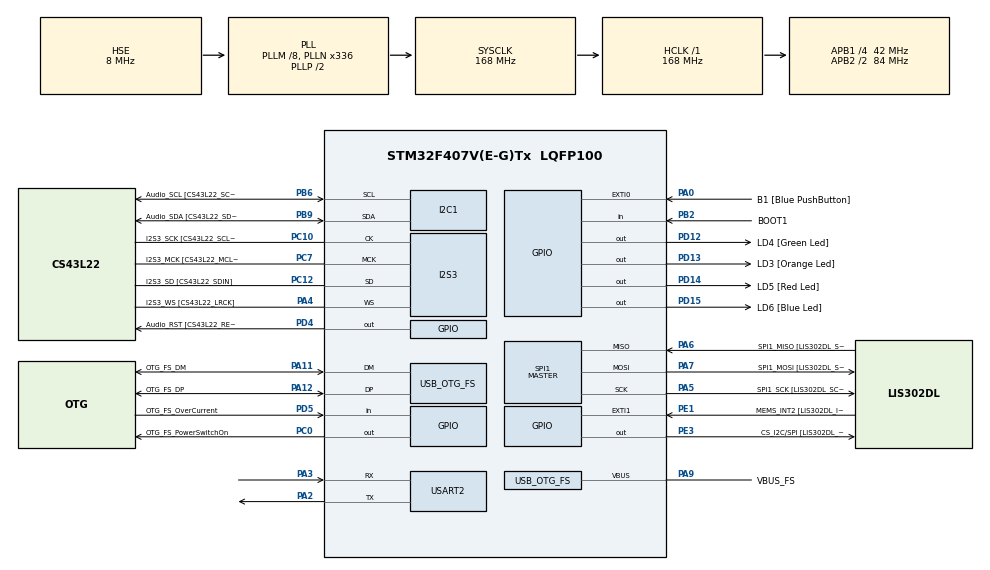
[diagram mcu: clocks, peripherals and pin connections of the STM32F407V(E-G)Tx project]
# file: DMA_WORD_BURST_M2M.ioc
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Dma.MEMTOMEM.0.Direction=DMA_MEMORY_TO_MEMORY
Dma.MEMTOMEM.0.FIFOMode=DMA_FIFOMODE_ENABLE
Dma.MEMTOMEM.0.FIFOThreshold=DMA_FIFO_THRESHOLD_FULL
Dma.MEMTOMEM.0.Instance=DMA2_Stream0
Dma.MEMTOMEM.0.MemBurst=DMA_MBURST_INC4
Dma.MEMTOMEM.0.MemDataAlignment=DMA_MDATAALIGN_WORD
Dma.MEMTOMEM.0.MemInc=DMA_MINC_ENABLE
Dma.MEMTOMEM.0.Mode=DMA_NORMAL
Dma.MEMTOMEM.0.PeriphBurst=DMA_PBURST_INC4
Dma.MEMTOMEM.0.PeriphDataAlignment=DMA_PDATAALIGN_WORD
Dma.MEMTOMEM.0.PeriphInc=DMA_PINC_ENABLE
Dma.MEMTOMEM.0.Priority=DMA_PRIORITY_LOW
Dma.Request0=MEMTOMEM
I2S3.AudioFreq-Half_Duplex_Master=I2S_AUDIOFREQ_96K
I2S3.ErrorAudioFreq=-2.34 %
I2S3.ErrorAudioFreq-Half_Duplex_Master=0.8 %
I2S3.FullDuplexMode=I2S_FULLDUPLEXMODE_DISABLE
I2S3.Instance=SPI$Index
I2S3.RealAudioFreq=93.75 KHz
I2S3.RealAudioFreq-Half_Duplex_Master=96.774 KHz
I2S3.VirtualMode=I2S_MODE_MASTER
Mcu.Family=STM32F4
Mcu.Name=STM32F407V(E-G)Tx
Mcu.Package=LQFP100
NVIC.OTG_FS_IRQn=true\:0\:0\:false\:false\:true\:true\:true\:true
NVIC.PriorityGroup=NVIC_PRIORITYGROUP_0
PA0-WKUP.GPIO_Label=B1 [Blue PushButton]
PA0-WKUP.GPIO_ModeDefaultEXTI=GPIO_MODE_EVT_RISING
PA0-WKUP.GPIO_PuPd=GPIO_NOPULL
PA0-WKUP.Signal=GPXTI0
PA10.GPIO_Label=OTG_FS_ID
PA10.GPIO_Mode=GPIO_MODE_AF_PP
PA10.GPIO_PuPd=GPIO_NOPULL
PA10.GPIO_Speed=GPIO_SPEED_FREQ_LOW
PA10.Signal=USB_OTG_FS_ID
PA11.GPIO_Label=OTG_FS_DM
PA11.GPIO_Mode=GPIO_MODE_AF_PP
PA11.GPIO_PuPd=GPIO_NOPULL
PA11.GPIO_Speed=GPIO_SPEED_FREQ_LOW
PA11.Mode=Host_Only
PA11.Signal=USB_OTG_FS_DM
PA12.GPIO_Label=OTG_FS_DP
PA12.GPIO_Mode=GPIO_MODE_AF_PP
PA12.GPIO_PuPd=GPIO_NOPULL
PA12.GPIO_Speed=GPIO_SPEED_FREQ_LOW
PA12.Mode=Host_Only
PA12.Signal=USB_OTG_FS_DP
PA13.GPIO_Label=SWDIO
PA13.Mode=Serial_Wire
PA13.Signal=SYS_JTMS-SWDIO
PA14.GPIO_Label=SWCLK
PA14.Mode=Serial_Wire
PA14.Signal=SYS_JTCK-SWCLK
PA2.Mode=Asynchronous
PA2.Signal=USART2_TX
PA3.Mode=Asynchronous
PA3.Signal=USART2_RX
PA4.GPIO_Label=I2S3_WS [CS43L22_LRCK]
PA4.GPIO_Mode=GPIO_MODE_AF_PP
PA4.GPIO_PuPd=GPIO_NOPULL
PA4.GPIO_Speed=GPIO_SPEED_FREQ_LOW
PA4.Mode=Half_Duplex_Master
PA4.Signal=I2S3_WS
PA5.GPIO_Label=SPI1_SCK [LIS302DL_SCL/SPC]
PA5.GPIO_Mode=GPIO_MODE_AF_PP
PA5.GPIO_PuPd=GPIO_NOPULL
PA5.GPIO_Speed=GPIO_SPEED_FREQ_LOW
PA5.Mode=Full_Duplex_Master
PA5.Signal=SPI1_SCK
PA6.GPIO_Label=SPI1_MISO [LIS302DL_SDO]
PA6.GPIO_Mode=GPIO_MODE_AF_PP
PA6.GPIO_PuPd=GPIO_NOPULL
PA6.GPIO_Speed=GPIO_SPEED_FREQ_LOW
PA6.Mode=Full_Duplex_Master
PA6.Signal=SPI1_MISO
PA7.GPIO_Label=SPI1_MOSI [LIS302DL_SDA/SDI/SDO]
PA7.GPIO_Mode=GPIO_MODE_AF_PP
PA7.GPIO_PuPd=GPIO_NOPULL
PA7.GPIO_Speed=GPIO_SPEED_FREQ_LOW
PA7.Mode=Full_Duplex_Master
PA7.Signal=SPI1_MOSI
PA9.GPIO_Label=VBUS_FS
PA9.GPIO_Mode=GPIO_MODE_INPUT
PA9.GPIO_PuPd=GPIO_NOPULL
PA9.Mode=Activate_VBUS
PA9.Signal=USB_OTG_FS_VBUS
PB10.GPIO_Label=CLK_IN [MP45DT02_CLK]
PB10.GPIO_Mode=GPIO_MODE_AF_PP
PB10.GPIO_PuPd=GPIO_NOPULL
PB10.GPIO_Speed=GPIO_SPEED_FREQ_LOW
PB10.Signal=I2S2_CK
PB2.GPIO_Label=BOOT1
PB2.GPIO_Mode=GPIO_MODE_INPUT
PB2.GPIO_PuPd=GPIO_NOPULL
PB2.Signal=GPIO_Input
PB3.GPIO_Label=SWO
PB3.Signal=SYS_JTDO-SWO
PB6.GPIO_Label=Audio_SCL [CS43L22_SCL]
PB6.GPIO_Mode=GPIO_MODE_AF_OD
PB6.GPIO_Pu=GPIO_PULLUP
PB6.GPIO_PuPd=GPIO_NOPULL
PB6.GPIO_Speed=GPIO_SPEED_FREQ_LOW
PB6.Mode=I2C
PB6.Signal=I2C1_SCL
PB9.GPIO_Label=Audio_SDA [CS43L22_SDA]
PB9.GPIO_Mode=GPIO_MODE_AF_OD
PB9.GPIO_Pu=GPIO_PULLUP
PB9.GPIO_PuPd=GPIO_NOPULL
PB9.GPIO_Speed=GPIO_SPEED_FREQ_LOW
PB9.Mode=I2C
PB9.Signal=I2C1_SDA
PC0.GPIO_Label=OTG_FS_PowerSwitchOn
PC0.GPIO_PuPd=GPIO_NOPULL
PC0.GPIO_Speed=GPIO_SPEED_FREQ_LOW
PC0.PinState=GPIO_PIN_SET
PC0.Signal=GPIO_Output
PC10.GPIO_Label=I2S3_SCK [CS43L22_SCLK]
PC10.GPIO_Mode=GPIO_MODE_AF_PP
PC10.GPIO_PuPd=GPIO_NOPULL
PC10.GPIO_Speed=GPIO_SPEED_FREQ_LOW
PC10.Mode=Half_Duplex_Master
PC10.Signal=I2S3_CK
PC12.GPIO_Label=I2S3_SD [CS43L22_SDIN]
PC12.GPIO_Mode=GPIO_MODE_AF_PP
PC12.GPIO_PuPd=GPIO_NOPULL
PC12.GPIO_Speed=GPIO_SPEED_FREQ_LOW
PC12.Mode=Half_Duplex_Master
PC12.Signal=I2S3_SD
PC14-OSC32_IN.GPIO_Label=PC14-OSC32_IN
PC14-OSC32_IN.Mode=LSE-External-Oscillator
PC14-OSC32_IN.Signal=RCC_OSC32_IN
PC15-OSC32_OUT.GPIO_Label=PC15-OSC32_OUT
PC15-OSC32_OUT.Mode=LSE-External-Oscillator
PC15-OSC32_OUT.Signal=RCC_OSC32_OUT
PC3.GPIO_Label=PDM_OUT [MP45DT02_DOUT]
PC3.GPIO_Mode=GPIO_MODE_AF_PP
PC3.GPIO_PuPd=GPIO_NOPULL
PC3.GPIO_Speed=GPIO_SPEED_FREQ_LOW
PC3.Signal=I2S2_SD
PC7.GPIO_Label=I2S3_MCK [CS43L22_MCLK]
PC7.GPIO_Mode=GPIO_MODE_AF_PP
PC7.GPIO_PuPd=GPIO_NOPULL
PC7.GPIO_Speed=GPIO_SPEED_FREQ_LOW
PC7.Mode=Master_Clock_Activated
PC7.Signal=I2S3_MCK
PD12.GPIO_Label=LD4 [Green Led]
PD12.GPIO_PuPd=GPIO_NOPULL
PD12.GPIO_Speed=GPIO_SPEED_FREQ_LOW
PD12.Signal=GPIO_Output
PD13.GPIO_Label=LD3 [Orange Led]
PD13.GPIO_PuPd=GPIO_NOPULL
PD13.GPIO_Speed=GPIO_SPEED_FREQ_LOW
PD13.Signal=GPIO_Output
PD14.GPIO_Label=LD5 [Red Led]
PD14.GPIO_PuPd=GPIO_NOPULL
PD14.GPIO_Speed=GPIO_SPEED_FREQ_LOW
PD14.Signal=GPIO_Output
PD15.GPIO_Label=LD6 [Blue Led]
PD15.GPIO_PuPd=GPIO_NOPULL
PD15.GPIO_Speed=GPIO_SPEED_FREQ_LOW
PD15.Signal=GPIO_Output
PD4.GPIO_Label=Audio_RST [CS43L22_RESET]
PD4.GPIO_PuPd=GPIO_NOPULL
PD4.GPIO_Speed=GPIO_SPEED_FREQ_LOW
PD4.Signal=GPIO_Output
PD5.GPIO_Label=OTG_FS_OverCurrent
PD5.GPIO_Mode=GPIO_MODE_INPUT
PD5.GPIO_PuPd=GPIO_NOPULL
PD5.Signal=GPIO_Input
PE1.GPIO_Label=MEMS_INT2 [LIS302DL_INT2]
PE1.GPIO_ModeDefaultEXTI=GPIO_MODE_EVT_RISING
PE1.GPIO_PuPd=GPIO_NOPULL
PE1.Signal=GPXTI1
PE3.GPIO_Label=CS_I2C/SPI [LIS302DL_CS_I2C/SPI]
PE3.GPIO_PuPd=GPIO_NOPULL
PE3.GPIO_Speed=GPIO_SPEED_FREQ_LOW
PE3.Signal=GPIO_Output
PH0-OSC_IN.GPIO_Label=PH0-OSC_IN
PH0-OSC_IN.Mode=HSE-External-Oscillator
PH0-OSC_IN.Signal=RCC_OSC_IN
PH1-OSC_OUT.GPIO_Label=PH1-OSC_OUT
PH1-OSC_OUT.Mode=HSE-External-Oscillator
PH1-OSC_OUT.Signal=RCC_OSC_OUT
ProjectManager.HeapSize=0x200
ProjectManager.StackSize=0x400
ProjectManager.TargetToolchain=STM32CubeIDE
RCC.48MHZClocksFreq_Value=48000000
RCC.AHBFreq_Value=168000000
RCC.APB1CLKDivider=RCC_HCLK_DIV4
RCC.APB1Freq_Value=42000000
RCC.APB1TimFreq_Value=84000000
RCC.APB2CLKDivider=RCC_HCLK_DIV2
RCC.APB2Freq_Value=84000000
RCC.APB2TimFreq_Value=168000000
RCC.CortexFreq_Value=168000000
RCC.HCLKFreq_Value=168000000
RCC.HSE_VALUE=8000000
RCC.HSI_VALUE=16000000
RCC.PLLM=8
RCC.PLLN=336
RCC.PLLQ=7
RCC.SYSCLKFreq_VALUE=168000000
RCC.SYSCLKSource=RCC_SYSCLKSOURCE_PLLCLK
RCC.VCOOutputFreq_Value=336000000
SPI1.BaudRatePrescaler-Full_Duplex_Master=SPI_BAUDRATEPRESCALER_2
SPI1.CalculateBaudRate-Full_Duplex_Master=42.0 MBits/s
SPI1.Direction=SPI_DIRECTION_2LINES
SPI1.Mode=SPI_MODE_MASTER
SPI1.Mode-Full_Duplex_Master=SPI_MODE_MASTER
SPI1.VirtualType=VM_MASTER
USART2.VirtualMode=VM_ASYNC
USB_HOST.BSP.number=1
USB_HOST.USBH_HandleTypeDef-CDC_FS=hUsbHostFS
USB_HOST.VirtualModeFS=Cdc
USB_HOST0.BSP.STBoard=false
USB_HOST0.BSP.api=Unknown
USB_HOST0.BSP.instance=PC0
USB_HOST0.BSP.ip=GPIO
USB_HOST0.BSP.mode=Output
USB_HOST0.BSP.name=Drive_VBUS_FS
USB_HOST0.BSP.solution=PC0
USB_OTG_FS.VirtualMode=Host_Only
USB_OTG_FS.phy_itface=HCD_PHY_EMBEDDED
VP_USB_HOST_VS_USB_HOST_CDC_FS.Mode=CDC_FS
board=STM32F407G-DISC1

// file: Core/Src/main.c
/* USER CODE BEGIN Header */
/**
  ******************************************************************************
  * @file           : main.c
  * @brief          : Main program body
  ******************************************************************************
  * @attention
  *
  * Copyright (c) 2026 STMicroelectronics.
  * All rights reserved.
  *
  * This software is licensed under terms that can be found in the LICENSE file
  * in the root directory of this software component.
  * If no LICENSE file comes with this software, it is provided AS-IS.
  *
  ******************************************************************************
  */
/* USER CODE END Header */
#include "main.h"
#include "usb_host.h"

/* USER CODE BEGIN Includes */
#include<stdio.h>
#define SIZE 1289
/* USER CODE END Includes */

I2C_HandleTypeDef hi2c1;

I2S_HandleTypeDef hi2s3;

SPI_HandleTypeDef hspi1;

UART_HandleTypeDef huart2;

DMA_HandleTypeDef hdma_memtomem_dma2_stream0;
/* USER CODE BEGIN PV */
const uint32_t flash_array[SIZE] = {[0 ... SIZE-1] = 0xFFFFFFFF};
uint32_t sram_array[SIZE] = {0};
/* USER CODE END PV */

void SystemClock_Config(void);
static void MX_GPIO_Init(void);
static void MX_DMA_Init(void);
static void MX_I2C1_Init(void);
static void MX_I2S3_Init(void);
static void MX_SPI1_Init(void);
static void MX_USART2_UART_Init(void);
void MX_USB_HOST_Process(void);

int main(void)
{

  /* MCU Configuration--------------------------------------------------------*/

  /* Reset of all peripherals, Initializes the Flash interface and the Systick. */
  HAL_Init();

  /* Configure the system clock */
  SystemClock_Config();

  /* Initialize all configured peripherals */
  MX_GPIO_Init();
  MX_DMA_Init();
  MX_I2C1_Init();
  MX_I2S3_Init();
  MX_SPI1_Init();
  MX_USART2_UART_Init();
  MX_USB_HOST_Init();
  /* USER CODE BEGIN 2 */
  CoreDebug->DEMCR |= CoreDebug_DEMCR_TRCENA_Msk;
  DWT->CTRL |= DWT_CTRL_CYCCNTENA_Msk;
  DWT->CYCCNT = 0;
  uint32_t start_cycle = DWT->CYCCNT;
  HAL_DMA_Start(&hdma_memtomem_dma2_stream0,(uint32_t)flash_array,(uint32_t)sram_array,SIZE);
  HAL_DMA_PollForTransfer(&hdma_memtomem_dma2_stream0,HAL_DMA_FULL_TRANSFER,HAL_MAX_DELAY);
  uint32_t stop_cycle = DWT->CYCCNT;
  uint32_t total_cycles = stop_cycle - start_cycle;
  float time_seconds = (float)total_cycles / SystemCoreClock;
  float time_microseconds = time_seconds * 1000000.0f;
  printf("Copying complete!\r\n");
  printf("Elapsed Time (Microseconds): %.3f us\r\n", time_microseconds);
  printf("Elapsed Time (Seconds): %.8f sn\r\n\n", time_seconds);
  /* USER CODE END 2 */

  /* Infinite loop */
  while (1)
  {
    MX_USB_HOST_Process();

  }
}

void SystemClock_Config(void)
{
  RCC_OscInitTypeDef RCC_OscInitStruct = {0};
  RCC_ClkInitTypeDef RCC_ClkInitStruct = {0};

  /** Configure the main internal regulator output voltage
  */
  __HAL_RCC_PWR_CLK_ENABLE();
  __HAL_PWR_VOLTAGESCALING_CONFIG(PWR_REGULATOR_VOLTAGE_SCALE1);

  /** Initializes the RCC Oscillators according to the specified parameters
  * in the RCC_OscInitTypeDef structure.
  */
  RCC_OscInitStruct.OscillatorType = RCC_OSCILLATORTYPE_HSE;
  RCC_OscInitStruct.HSEState = RCC_HSE_ON;
  RCC_OscInitStruct.PLL.PLLState = RCC_PLL_ON;
  RCC_OscInitStruct.PLL.PLLSource = RCC_PLLSOURCE_HSE;
  RCC_OscInitStruct.PLL.PLLM = 8;
  RCC_OscInitStruct.PLL.PLLN = 336;
  RCC_OscInitStruct.PLL.PLLP = RCC_PLLP_DIV2;
  RCC_OscInitStruct.PLL.PLLQ = 7;
  if (HAL_RCC_OscConfig(&RCC_OscInitStruct) != HAL_OK)
  {
    Error_Handler();
  }

  /** Initializes the CPU, AHB and APB buses clocks
  */
  RCC_ClkInitStruct.ClockType = RCC_CLOCKTYPE_HCLK|RCC_CLOCKTYPE_SYSCLK
                              |RCC_CLOCKTYPE_PCLK1|RCC_CLOCKTYPE_PCLK2;
  RCC_ClkInitStruct.SYSCLKSource = RCC_SYSCLKSOURCE_PLLCLK;
  RCC_ClkInitStruct.AHBCLKDivider = RCC_SYSCLK_DIV1;
  RCC_ClkInitStruct.APB1CLKDivider = RCC_HCLK_DIV4;
  RCC_ClkInitStruct.APB2CLKDivider = RCC_HCLK_DIV2;

  if (HAL_RCC_ClockConfig(&RCC_ClkInitStruct, FLASH_LATENCY_5) != HAL_OK)
  {
    Error_Handler();
  }
}

static void MX_I2C1_Init(void)
{

  hi2c1.Instance = I2C1;
  hi2c1.Init.ClockSpeed = 100000;
  hi2c1.Init.DutyCycle = I2C_DUTYCYCLE_2;
  hi2c1.Init.OwnAddress1 = 0;
  hi2c1.Init.AddressingMode = I2C_ADDRESSINGMODE_7BIT;
  hi2c1.Init.DualAddressMode = I2C_DUALADDRESS_DISABLE;
  hi2c1.Init.OwnAddress2 = 0;
  hi2c1.Init.GeneralCallMode = I2C_GENERALCALL_DISABLE;
  hi2c1.Init.NoStretchMode = I2C_NOSTRETCH_DISABLE;
  if (HAL_I2C_Init(&hi2c1) != HAL_OK)
  {
    Error_Handler();
  }

}

static void MX_I2S3_Init(void)
{

  hi2s3.Instance = SPI3;
  hi2s3.Init.Mode = I2S_MODE_MASTER_TX;
  hi2s3.Init.Standard = I2S_STANDARD_PHILIPS;
  hi2s3.Init.DataFormat = I2S_DATAFORMAT_16B;
  hi2s3.Init.MCLKOutput = I2S_MCLKOUTPUT_ENABLE;
  hi2s3.Init.AudioFreq = I2S_AUDIOFREQ_96K;
  hi2s3.Init.CPOL = I2S_CPOL_LOW;
  hi2s3.Init.ClockSource = I2S_CLOCK_PLL;
  hi2s3.Init.FullDuplexMode = I2S_FULLDUPLEXMODE_DISABLE;
  if (HAL_I2S_Init(&hi2s3) != HAL_OK)
  {
    Error_Handler();
  }

}

static void MX_SPI1_Init(void)
{

  /* SPI1 parameter configuration*/
  hspi1.Instance = SPI1;
  hspi1.Init.Mode = SPI_MODE_MASTER;
  hspi1.Init.Direction = SPI_DIRECTION_2LINES;
  hspi1.Init.DataSize = SPI_DATASIZE_8BIT;
  hspi1.Init.CLKPolarity = SPI_POLARITY_LOW;
  hspi1.Init.CLKPhase = SPI_PHASE_1EDGE;
  hspi1.Init.NSS = SPI_NSS_SOFT;
  hspi1.Init.BaudRatePrescaler = SPI_BAUDRATEPRESCALER_2;
  hspi1.Init.FirstBit = SPI_FIRSTBIT_MSB;
  hspi1.Init.TIMode = SPI_TIMODE_DISABLE;
  hspi1.Init.CRCCalculation = SPI_CRCCALCULATION_DISABLE;
  hspi1.Init.CRCPolynomial = 10;
  if (HAL_SPI_Init(&hspi1) != HAL_OK)
  {
    Error_Handler();
  }

}

static void MX_USART2_UART_Init(void)
{

  huart2.Instance = USART2;
  huart2.Init.BaudRate = 115200;
  huart2.Init.WordLength = UART_WORDLENGTH_8B;
  huart2.Init.StopBits = UART_STOPBITS_1;
  huart2.Init.Parity = UART_PARITY_NONE;
  huart2.Init.Mode = UART_MODE_TX_RX;
  huart2.Init.HwFlowCtl = UART_HWCONTROL_NONE;
  huart2.Init.OverSampling = UART_OVERSAMPLING_16;
  if (HAL_UART_Init(&huart2) != HAL_OK)
  {
    Error_Handler();
  }

}

static void MX_DMA_Init(void)
{

  /* DMA controller clock enable */
  __HAL_RCC_DMA2_CLK_ENABLE();

  /* Configure DMA request hdma_memtomem_dma2_stream0 on DMA2_Stream0 */
  hdma_memtomem_dma2_stream0.Instance = DMA2_Stream0;
  hdma_memtomem_dma2_stream0.Init.Channel = DMA_CHANNEL_0;
  hdma_memtomem_dma2_stream0.Init.Direction = DMA_MEMORY_TO_MEMORY;
  hdma_memtomem_dma2_stream0.Init.PeriphInc = DMA_PINC_ENABLE;
  hdma_memtomem_dma2_stream0.Init.MemInc = DMA_MINC_ENABLE;
  hdma_memtomem_dma2_stream0.Init.PeriphDataAlignment = DMA_PDATAALIGN_WORD;
  hdma_memtomem_dma2_stream0.Init.MemDataAlignment = DMA_MDATAALIGN_WORD;
  hdma_memtomem_dma2_stream0.Init.Mode = DMA_NORMAL;
  hdma_memtomem_dma2_stream0.Init.Priority = DMA_PRIORITY_LOW;
  hdma_memtomem_dma2_stream0.Init.FIFOMode = DMA_FIFOMODE_ENABLE;
  hdma_memtomem_dma2_stream0.Init.FIFOThreshold = DMA_FIFO_THRESHOLD_FULL;
  hdma_memtomem_dma2_stream0.Init.MemBurst = DMA_MBURST_INC4;
  hdma_memtomem_dma2_stream0.Init.PeriphBurst = DMA_PBURST_INC4;
  if (HAL_DMA_Init(&hdma_memtomem_dma2_stream0) != HAL_OK)
  {
    Error_Handler( );
  }

}

static void MX_GPIO_Init(void)
{
  GPIO_InitTypeDef GPIO_InitStruct = {0};

  /* GPIO Ports Clock Enable */
  __HAL_RCC_GPIOE_CLK_ENABLE();
  __HAL_RCC_GPIOC_CLK_ENABLE();
  __HAL_RCC_GPIOH_CLK_ENABLE();
  __HAL_RCC_GPIOA_CLK_ENABLE();
  __HAL_RCC_GPIOB_CLK_ENABLE();
  __HAL_RCC_GPIOD_CLK_ENABLE();

  /*Configure GPIO pin Output Level */
  HAL_GPIO_WritePin(CS_I2C_SPI_GPIO_Port, CS_I2C_SPI_Pin, GPIO_PIN_RESET);

  /*Configure GPIO pin Output Level */
  HAL_GPIO_WritePin(OTG_FS_PowerSwitchOn_GPIO_Port, OTG_FS_PowerSwitchOn_Pin, GPIO_PIN_SET);

  /*Configure GPIO pin Output Level */
  HAL_GPIO_WritePin(GPIOD, LD4_Pin|LD3_Pin|LD5_Pin|LD6_Pin
                          |Audio_RST_Pin, GPIO_PIN_RESET);

  /*Configure GPIO pin : CS_I2C_SPI_Pin */
  GPIO_InitStruct.Pin = CS_I2C_SPI_Pin;
  GPIO_InitStruct.Mode = GPIO_MODE_OUTPUT_PP;
  GPIO_InitStruct.Pull = GPIO_NOPULL;
  GPIO_InitStruct.Speed = GPIO_SPEED_FREQ_LOW;
  HAL_GPIO_Init(CS_I2C_SPI_GPIO_Port, &GPIO_InitStruct);

  /*Configure GPIO pin : OTG_FS_PowerSwitchOn_Pin */
  GPIO_InitStruct.Pin = OTG_FS_PowerSwitchOn_Pin;
  GPIO_InitStruct.Mode = GPIO_MODE_OUTPUT_PP;
  GPIO_InitStruct.Pull = GPIO_NOPULL;
  GPIO_InitStruct.Speed = GPIO_SPEED_FREQ_LOW;
  HAL_GPIO_Init(OTG_FS_PowerSwitchOn_GPIO_Port, &GPIO_InitStruct);

  /*Configure GPIO pin : PDM_OUT_Pin */
  GPIO_InitStruct.Pin = PDM_OUT_Pin;
  GPIO_InitStruct.Mode = GPIO_MODE_AF_PP;
  GPIO_InitStruct.Pull = GPIO_NOPULL;
  GPIO_InitStruct.Speed = GPIO_SPEED_FREQ_LOW;
  GPIO_InitStruct.Alternate = GPIO_AF5_SPI2;
  HAL_GPIO_Init(PDM_OUT_GPIO_Port, &GPIO_InitStruct);

  /*Configure GPIO pin : B1_Pin */
  GPIO_InitStruct.Pin = B1_Pin;
  GPIO_InitStruct.Mode = GPIO_MODE_EVT_RISING;
  GPIO_InitStruct.Pull = GPIO_NOPULL;
  HAL_GPIO_Init(B1_GPIO_Port, &GPIO_InitStruct);

  /*Configure GPIO pin : BOOT1_Pin */
  GPIO_InitStruct.Pin = BOOT1_Pin;
  GPIO_InitStruct.Mode = GPIO_MODE_INPUT;
  GPIO_InitStruct.Pull = GPIO_NOPULL;
  HAL_GPIO_Init(BOOT1_GPIO_Port, &GPIO_InitStruct);

  /*Configure GPIO pin : CLK_IN_Pin */
  GPIO_InitStruct.Pin = CLK_IN_Pin;
  GPIO_InitStruct.Mode = GPIO_MODE_AF_PP;
  GPIO_InitStruct.Pull = GPIO_NOPULL;
  GPIO_InitStruct.Speed = GPIO_SPEED_FREQ_LOW;
  GPIO_InitStruct.Alternate = GPIO_AF5_SPI2;
  HAL_GPIO_Init(CLK_IN_GPIO_Port, &GPIO_InitStruct);

  /*Configure GPIO pins : LD4_Pin LD3_Pin LD5_Pin LD6_Pin
                           Audio_RST_Pin */
  GPIO_InitStruct.Pin = LD4_Pin|LD3_Pin|LD5_Pin|LD6_Pin
                          |Audio_RST_Pin;
  GPIO_InitStruct.Mode = GPIO_MODE_OUTPUT_PP;
  GPIO_InitStruct.Pull = GPIO_NOPULL;
  GPIO_InitStruct.Speed = GPIO_SPEED_FREQ_LOW;
  HAL_GPIO_Init(GPIOD, &GPIO_InitStruct);

  /*Configure GPIO pin : OTG_FS_OverCurrent_Pin */
  GPIO_InitStruct.Pin = OTG_FS_OverCurrent_Pin;
  GPIO_InitStruct.Mode = GPIO_MODE_INPUT;
  GPIO_InitStruct.Pull = GPIO_NOPULL;
  HAL_GPIO_Init(OTG_FS_OverCurrent_GPIO_Port, &GPIO_InitStruct);

  /*Configure GPIO pin : MEMS_INT2_Pin */
  GPIO_InitStruct.Pin = MEMS_INT2_Pin;
  GPIO_InitStruct.Mode = GPIO_MODE_EVT_RISING;
  GPIO_InitStruct.Pull = GPIO_NOPULL;
  HAL_GPIO_Init(MEMS_INT2_GPIO_Port, &GPIO_InitStruct);

}

/* USER CODE BEGIN 4 */
#include<stdio.h>
int _write(int fd, char* ptr,int len){
	HAL_UART_Transmit(&huart2,(uint8_t *)ptr,len,HAL_MAX_DELAY);
	return len;
}
/* USER CODE END 4 */

void Error_Handler(void)
{
  __disable_irq();
  while (1)
  {
  }
}
